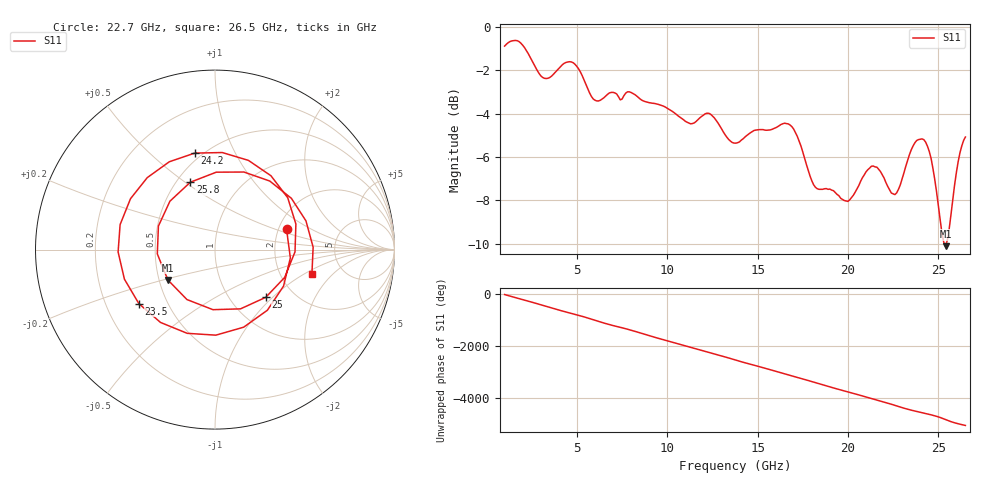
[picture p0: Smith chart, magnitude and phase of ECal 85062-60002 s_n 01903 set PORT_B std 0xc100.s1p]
!Created with skrf (http://scikit-rf.org).
# Hz S RI R 50.0
!freq ReS11 ImS11
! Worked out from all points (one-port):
!   256 points, 1 GHz to 26.5 GHz, reference 50 ohm
!   lowest |S11| = -10.1 dB at 25.4 GHz (marker M1), VSWR 1.91, Z = 27.8 - j10.4 ohm
!   |S11| at or under -10 dB: 25.34233 GHz to 25.44005 GHz (97.72 MHz wide, 0.385 % of centre)
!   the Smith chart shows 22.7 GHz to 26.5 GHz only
!   S11 on the Smith chart (normalised r, x): 22.7 GHz: 2.21, +0.61; 23.5 GHz: 0.34, -0.28; 24.2 GHz: 0.46, +0.70; 25 GHz: 1.45, -0.91; 25.8 GHz: 0.59, +0.52; 26.5 GHz: 2.99, -1.19
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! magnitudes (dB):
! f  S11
! 1 GHz  -0.9
! 1.8 GHz  -0.7
! 3.2 GHz  -2.4
! 4.2 GHz  -1.7
! 4.9 GHz  -1.7
! 6 GHz  -3.4
! 7 GHz  -3.0
! 7.4 GHz  -3.4
! 7.9 GHz  -3.0
! 10.6 GHz  -4.1
! 11.3 GHz  -4.5
! 12.3 GHz  -4.0
! 13.8 GHz  -5.4
! 14.8 GHz  -4.8
! 17 GHz  -4.7
! 18.2 GHz  -7.4
! 20.2 GHz  -7.9
! 21.4 GHz  -6.4
! 22.7 GHz  -7.6
! 23.4 GHz  -5.9
! 23.5 GHz  -5.7
! 24.2 GHz  -5.2
! 24.6 GHz  -6.1
! 25 GHz  -8.2
! 25.4 GHz  -10.1
! 25.8 GHz  -8.0
! 26.2 GHz  -5.8
! 26.5 GHz  -5.1
